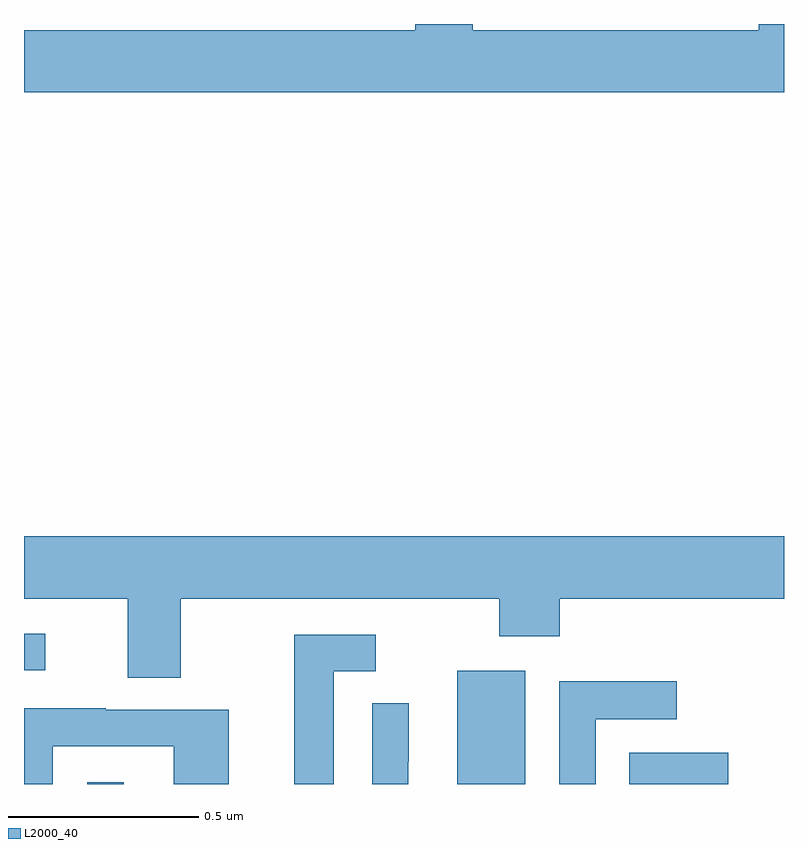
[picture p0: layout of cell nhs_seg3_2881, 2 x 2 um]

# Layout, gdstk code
import gdstk
lib = gdstk.Library(unit=1e-6, precision=1e-09)
def R(c, l, rs):  # rectangles x0, y0, x1, y1
    for r in rs: c.add(gdstk.rectangle(r[:2], r[2:], *l))
def P(c, l, *ps):  # polygons
    for p in ps: c.add(gdstk.Polygon(p, *l))
L2000_40 = (2000, 40)

nhs_seg3_2881 = lib.new_cell('nhs_seg3_2881')
R(nhs_seg3_2881, L2000_40, [(146.166,728.4,146.263,728.404), (147.14,728.4,147.319,728.698), (147.593,728.4,147.853,728.482), (146,728.7,146.056,728.796)])
P(nhs_seg3_2881, L2000_40, [(148,730.4),(147.933,730.4),(147.933,730.384),(147.181,730.384),(147.181,730.4),(147.029,730.4),(147.029,730.384),(146,730.384),(146,730.22),(148,730.22)],
  [(146.413,728.888),(147.25,728.888),(147.25,728.789),(147.41,728.789),(147.41,728.888),(148,728.888),(148,729.052),(146,729.052),(146,728.888),(146.273,728.888),(146.273,728.68),(146.413,728.68)],
  [(146.815,728.697),(146.926,728.697),(146.926,728.793),(146.711,728.793),(146.711,728.4),(146.815,728.4)],
  [(147.504,728.571),(147.718,728.571),(147.718,728.67),(147.408,728.67),(147.408,728.4),(147.504,728.4)],
  [(147.011,728.458),(147.012,728.458),(147.012,728.612),(146.916,728.612),(146.916,728.4),(147.011,728.4)],
  [(146.076,728.499),(146.394,728.499),(146.394,728.4),(146.539,728.4),(146.539,728.595),(146.215,728.595),(146.215,728.599),(146,728.599),(146,728.4),(146.076,728.4)])

lib.write_gds('nhs_seg3_2881.gds')
